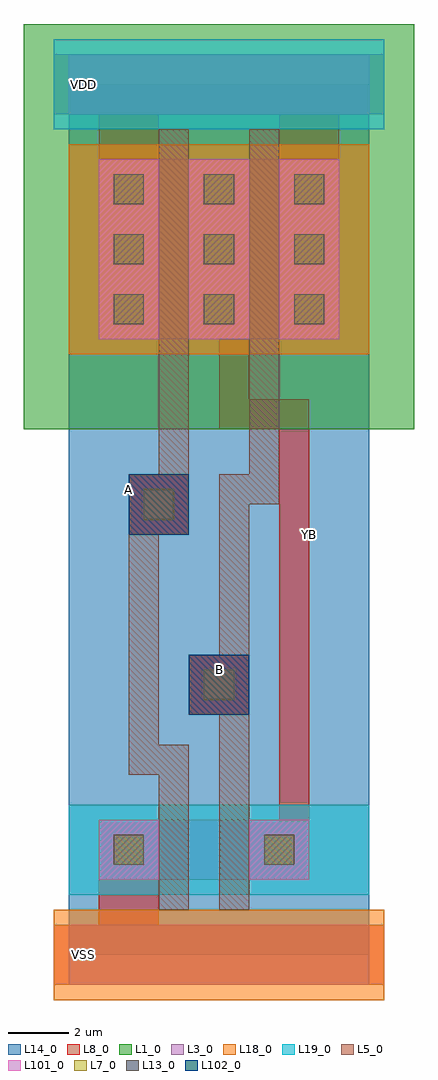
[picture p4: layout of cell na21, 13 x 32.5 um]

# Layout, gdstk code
import gdstk
lib = gdstk.Library(unit=1e-6, precision=1e-09)
def R(c, l, rs):  # rectangles x0, y0, x1, y1
    for r in rs: c.add(gdstk.rectangle(r[:2], r[2:], *l))
L1_0 = (1, 0)
L3_0 = (3, 0)
L5_0 = (5, 0)
L7_0 = (7, 0)
L8_0 = (8, 0)
L13_0 = (13, 0)
L14_0 = (14, 0)
L18_0 = (18, 0)
L19_0 = (19, 0)
L101_0 = (101, 0)
L102_0 = (102, 0)

pcont = lib.new_cell('pcont')
R(pcont, L5_0, [(-1,-1,1,1)])
R(pcont, L7_0, [(-0.5,-0.5,0.5,0.5)])
R(pcont, L8_0, [(-1,-1,1,1)])
R(pcont, L102_0, [(-1,-1,1,1)])
pcont.add(gdstk.Label('pcont', (0,0), layer=13, texttype=0))

dcont = lib.new_cell('dcont')
R(dcont, L3_0, [(-1,-1,1,1)])
R(dcont, L7_0, [(-0.5,-0.5,0.5,0.5)])
R(dcont, L8_0, [(-1,-1,1,1)])
R(dcont, L13_0, [(-0.5,-0.5,0.5,0.5)])
R(dcont, L101_0, [(-1,-1,1,1)])
dcont.add(gdstk.Label('dcont', (0,0), layer=13, texttype=0))

na21 = lib.new_cell('na21')
R(na21, L1_0, [(-1.5,17.5,11.5,31)])
R(na21, L3_0, [(0,-1,10,1), (1,2.5,8,4.5), (1,20.5,9,26.5), (0,28,10,30)])
R(na21, L8_0, [(-0.5,-1,10.5,1), (1,-1,3,4.5), (6,2.5,8,4.5), (7,4.5,8,18.5), (4,8,6,10), (2,14,4,16), (5,17.5,6,20.5), (5,17.5,7,18.5), (1,20.5,3,30), (4,20.5,6,26.5), (7,20.5,9,30), (-0.5,28,10.5,30), (-0.5,28,10,30)])
R(na21, L14_0, [(0,0,10,29)])
R(na21, L18_0, [(-0.5,-1.5,10.5,1.5), (0,20,10,27)])
R(na21, L19_0, [(0,2,10,5), (-0.5,27.5,10.5,30.5)])
na21.add(gdstk.FlexPath([(3.5,27),(3.5,15.5),(2.5,15.5),(2.5,6.5),(3.5,6.5),(3.5,2)], 1, ends="extended", simple_path=True, layer=5, datatype=0))  # L5_0
na21.add(gdstk.FlexPath([(6.5,27),(6.5,15.5),(5.5,15.5),(5.5,2)], 1, ends="extended", simple_path=True, layer=5, datatype=0))  # L5_0
na21.add(gdstk.Reference(pcont, (3,15)))
na21.add(gdstk.Reference(dcont, (7,3.5)))
na21.add(gdstk.Reference(dcont, (2,25.5)))
na21.add(gdstk.Reference(dcont, (8,21.5)))
na21.add(gdstk.Reference(dcont, (2,21.5)))
na21.add(gdstk.Reference(dcont, (8,23.5)))
na21.add(gdstk.Reference(dcont, (5,23.5)))
na21.add(gdstk.Reference(dcont, (2,3.5)))
na21.add(gdstk.Reference(pcont, (5,9)))
na21.add(gdstk.Reference(dcont, (8,25.5)))
na21.add(gdstk.Reference(dcont, (5,21.5)))
na21.add(gdstk.Reference(dcont, (2,23.5)))
na21.add(gdstk.Reference(dcont, (5,25.5)))
na21.add(gdstk.Label('B', (5,9.5), layer=8, texttype=0))
na21.add(gdstk.Label('YB', (8,14), layer=8, texttype=0))
na21.add(gdstk.Label('VSS', (0.5,0), layer=8, texttype=0))
na21.add(gdstk.Label('VDD', (0.5,29), layer=8, texttype=0))
na21.add(gdstk.Label('A', (2,15.5), layer=8, texttype=0))

lib.write_gds('na21.gds')
